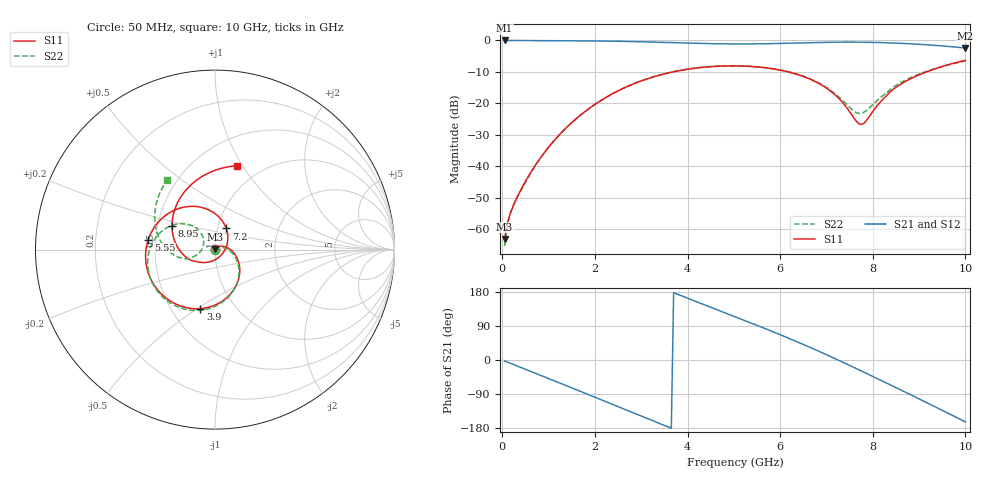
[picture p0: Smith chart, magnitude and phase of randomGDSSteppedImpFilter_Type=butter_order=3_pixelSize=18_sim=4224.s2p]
! freq	dB(S11)	phase(S11)	dB(S12)	phase(S12)
!  dB(S21)	phase(S21)	dB(S22)	phase(S22)
!S-par simulation data
#  GHz  S  DB  R 50
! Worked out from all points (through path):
!   200 points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, 50 MHz to 10 GHz, reference 50 ohm
!   highest |S21| = 0.00 dB at 50 MHz (marker M1); lowest = -2.4 dB at 10 GHz (marker M2)
!   group delay of S21, straight-line fit = 143 ps
!   lowest |S11| = -63.2 dB at 50 MHz (marker M3), VSWR 1.00, Z = 50 + j0.0648 ohm
!   |S11| at or under -10 dB: start of sweep to 3.688 GHz; 6.167 GHz to 9.16 GHz (2.993 GHz wide, 39.1 % of centre)
!   |S22| runs from -65.5 to -6.5 dB; largest |S21 - S12| = 0
!   S11 on the Smith chart (normalised r, x): 50 MHz: 1.00, +0.00; 3.9 GHz: 0.69, -0.51; 5.55 GHz: 0.46, +0.06; 7.2 GHz: 1.10, +0.26; 8.95 GHz: 0.60, +0.17; 10 GHz: 0.78, +0.94
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0.05  -63.17 68.8  -0.00 -2.5  -0.00 -2.5  -65.49 75.9
0.1  -58.69 66.5  -0.01 -4.9  -0.01 -4.9  -59.60 75.0
0.2  -54.07 68.8  -0.01 -9.8  -0.01 -9.8  -53.81 67.8
0.6  -42.32 65.4  -0.04 -29.4  -0.04 -29.4  -42.58 54.5
1.2  -30.55 37.5  -0.07 -58.7  -0.07 -58.7  -30.59 27.2
1.75  -23.05 8.3  -0.12 -85.8  -0.12 -85.8  -23.07 1.4
2.5  -16.05 -31.4  -0.26 -123.1  -0.26 -123.1  -16.03 -34.3
2.95  -13.15 -55.0  -0.40 -145.5  -0.40 -145.5  -13.13 -55.7
3.4  -11.02 -78.3  -0.58 -167.7  -0.58 -167.7  -11.00 -76.9
3.9  -9.40 -103.9  -0.80 167.9  -0.80 167.9  -9.38 -99.8
4.45  -8.40 -131.7  -1.01 141.6  -1.01 141.6  -8.36 -124.3
5.05  -8.10 -162.3  -1.11 113.1  -1.11 113.1  -8.05 -150.3
5.55  -8.50 171.4  -1.08 89.1  -1.08 89.1  -8.43 -171.5
6.15  -9.94 137.4  -0.90 59.2  -0.90 59.2  -9.85 163.4
6.7  -12.68 102.1  -0.69 30.4  -0.69 30.4  -12.55 142.1
7.2  -17.50 62.1  -0.55 2.8  -0.55 2.8  -17.13 130.2
7.6  -24.83 2.5  -0.53 -20.0  -0.53 -20.0  -22.58 148.1
7.75  -26.74 -45.1  -0.55 -28.7  -0.55 -28.7  -23.20 168.8
8.35  -16.72 -155.7  -0.80 -63.9  -0.80 -63.9  -15.97 -161.1
8.95  -11.28 151.4  -1.18 -99.6  -1.18 -99.6  -11.00 176.9
9.5  -8.28 110.2  -1.74 -132.8  -1.74 -132.8  -8.31 150.9
10  -6.33 75.4  -2.40 -163.2  -2.40 -163.2  -6.54 124.4
